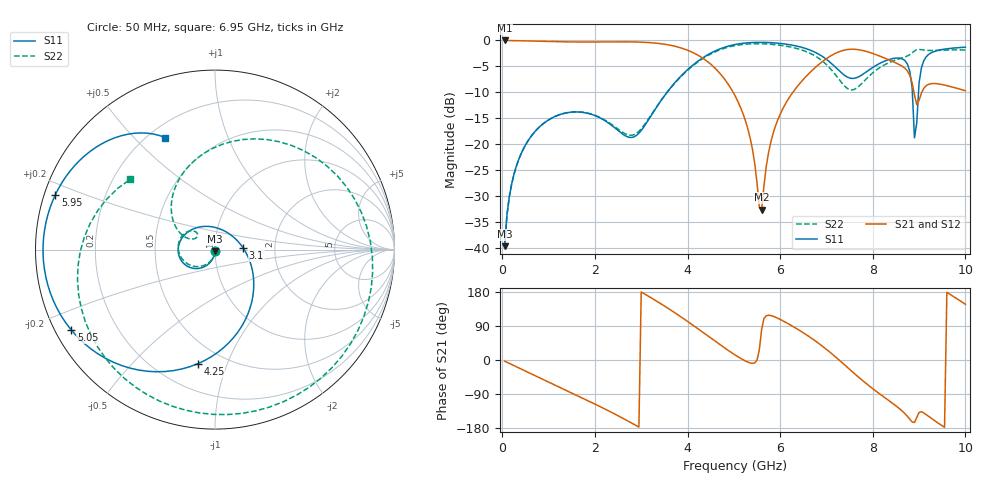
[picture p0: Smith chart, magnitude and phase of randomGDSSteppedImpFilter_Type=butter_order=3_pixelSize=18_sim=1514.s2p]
! freq	dB(S11)	phase(S11)	dB(S12)	phase(S12)
!  dB(S21)	phase(S21)	dB(S22)	phase(S22)
!S-par simulation data
#  GHz  S  DB  R 50
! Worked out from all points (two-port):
!   200 points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, 50 MHz to 10 GHz, reference 50 ohm
!   highest |S21| = -0.01 dB at 50 MHz (marker M1); lowest = -32.5 dB at 5.6 GHz (marker M2)
!   |S21| within 3 dB of the highest: start of sweep to 4.257 GHz; 7.085 GHz to 8.148 GHz (1.063 GHz wide, 14 % of centre)
!   lowest |S11| = -39.6 dB at 50 MHz (marker M3), VSWR 1.02, Z = 50 - j1.05 ohm
!   |S11| at or under -10 dB: start of sweep to 3.555 GHz; 8.855 GHz to 8.988 GHz (133.1 MHz wide, 1.49 % of centre)
!   |S22| runs from -39.6 to -0.6 dB; largest |S21 - S12| = 0
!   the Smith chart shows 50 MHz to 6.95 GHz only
!   S11 on the Smith chart (normalised r, x): 50 MHz: 1.00, -0.02; 3.1 GHz: 1.37, +0.02; 4.25 GHz: 0.36, -0.79; 5.05 GHz: 0.05, -0.26; 5.95 GHz: 0.03, +0.17; 6.95 GHz: 0.26, +0.62
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0.05  -39.57 -91.9  -0.01 -3.0  -0.01 -3.0  -39.56 -92.2
0.2  -27.71 -100.8  -0.03 -11.8  -0.03 -11.8  -27.71 -102.5
0.5  -20.12 -117.6  -0.08 -29.3  -0.08 -29.3  -20.13 -121.7
1.75  -13.86 172.0  -0.31 -101.4  -0.31 -101.4  -13.82 164.1
3.1  -16.06 3.2  -0.37 172.4  -0.37 172.4  -15.84 157.4
3.4  -11.92 -33.2  -0.61 150.3  -0.61 150.3  -11.90 149.7
4.25  -3.82 -98.7  -2.97 80.2  -2.97 80.2  -3.97 75.6
5.05  -0.75 -150.7  -11.06 11.5  -11.06 11.5  -0.96 -13.5
5.6  -0.37 178.6  -32.52 80.2  -32.52 80.2  -0.65 -70.8
5.95  -0.53 161.0  -15.25 110.2  -15.25 110.2  -0.87 -105.4
6.7  -2.05 124.8  -5.68 55.5  -5.68 55.5  -2.71 174.6
6.95  -3.31 114.0  -3.81 33.0  -3.81 33.0  -4.25 140.2
7.25  -5.62 107.2  -2.26 2.4  -2.26 2.4  -7.24 84.9
7.6  -7.29 117.3  -1.70 -35.5  -1.70 -35.5  -9.42 -10.6
7.95  -5.50 121.5  -2.36 -71.0  -2.36 -71.0  -6.62 -89.7
8.35  -3.68 106.1  -3.74 -107.4  -3.74 -107.4  -4.27 -145.4
8.75  -4.58 66.1  -5.90 -149.0  -5.90 -149.0  -2.98 173.7
8.85  -9.09 37.9  -8.16 -163.5  -8.16 -163.5  -2.39 164.6
8.9  -18.74 14.9  -10.49 -164.8  -10.49 -164.8  -2.02 158.8
9.1  -3.93 131.5  -9.23 -139.5  -9.23 -139.5  -1.85 133.5
9.6  -1.61 87.2  -8.69 178.6  -8.69 178.6  -1.84 84.1
10  -1.29 69.1  -9.67 147.0  -9.67 147.0  -1.86 40.9
